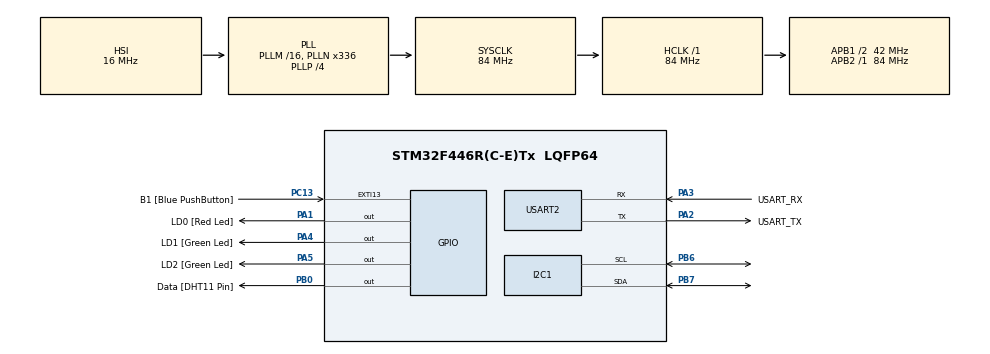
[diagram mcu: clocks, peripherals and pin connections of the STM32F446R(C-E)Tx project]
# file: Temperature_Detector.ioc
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FREERTOS.Tasks01=defaultTask,24,128,StartDefaultTask,Default,NULL,Dynamic,NULL,NULL
FREERTOS.configUSE_NEWLIB_REENTRANT=1
Mcu.Family=STM32F4
Mcu.Name=STM32F446R(C-E)Tx
Mcu.Package=LQFP64
NVIC.PriorityGroup=NVIC_PRIORITYGROUP_4
NVIC.TIM6_DAC_IRQn=true\:15\:0\:false\:false\:true\:false\:false\:true\:true
NVIC.TimeBase=TIM6_DAC_IRQn
NVIC.TimeBaseIP=TIM6
PA1.GPIO_Label=LD0 [Red Led]
PA1.Signal=GPIO_Output
PA13.GPIO_Label=TMS
PA13.Mode=Serial_Wire
PA13.Signal=SYS_JTMS-SWDIO
PA14.GPIO_Label=TCK
PA14.Mode=Serial_Wire
PA14.Signal=SYS_JTCK-SWCLK
PA2.GPIO_Label=USART_TX
PA2.Mode=Asynchronous
PA2.Signal=USART2_TX
PA3.GPIO_Label=USART_RX
PA3.Mode=Asynchronous
PA3.Signal=USART2_RX
PA4.GPIO_Label=LD1 [Green Led]
PA4.Signal=GPIO_Output
PA5.GPIO_Label=LD2 [Green Led]
PA5.Signal=GPIO_Output
PB0.GPIO_Label=Data [DHT11 Pin]
PB0.Signal=GPIO_Output
PB3.GPIO_Label=SWO
PB3.Signal=SYS_JTDO-SWO
PB6.Mode=I2C
PB6.Signal=I2C1_SCL
PB7.Mode=I2C
PB7.Signal=I2C1_SDA
PC13.GPIO_Label=B1 [Blue PushButton]
PC13.GPIO_ModeDefaultEXTI=GPIO_MODE_IT_FALLING
PC13.Signal=GPXTI13
PC14-OSC32_IN.Mode=LSE-External-Oscillator
PC14-OSC32_IN.Signal=RCC_OSC32_IN
PC15-OSC32_OUT.Mode=LSE-External-Oscillator
PC15-OSC32_OUT.Signal=RCC_OSC32_OUT
PH0-OSC_IN.Mode=HSE-External-Oscillator
PH0-OSC_IN.Signal=RCC_OSC_IN
PH1-OSC_OUT.Mode=HSE-External-Oscillator
PH1-OSC_OUT.Signal=RCC_OSC_OUT
ProjectManager.HeapSize=0x200
ProjectManager.StackSize=0x400
ProjectManager.TargetToolchain=STM32CubeIDE
RCC.48MHZClocksFreq_Value=84000000
RCC.AHBFreq_Value=84000000
RCC.APB1CLKDivider=RCC_HCLK_DIV2
RCC.APB1Freq_Value=42000000
RCC.APB1TimFreq_Value=84000000
RCC.APB2Freq_Value=84000000
RCC.APB2TimFreq_Value=84000000
RCC.CortexFreq_Value=84000000
RCC.FLatency-AdvancedSettings=FLASH_LATENCY_2
RCC.HCLKFreq_Value=84000000
RCC.HSE_VALUE=8000000
RCC.HSI_VALUE=16000000
RCC.PLLN=336
RCC.PLLP=RCC_PLLP_DIV4
RCC.SYSCLKFreq_VALUE=84000000
RCC.SYSCLKSource=RCC_SYSCLKSOURCE_PLLCLK
RCC.USBFreq_Value=168000000
RCC.VCOOutputFreq_Value=336000000
USART2.VirtualMode=VM_ASYNC
VP_FREERTOS_VS_CMSIS_V2.Mode=CMSIS_V2
VP_SYS_VS_tim6.Mode=TIM6
board=NUCLEO-F446RE

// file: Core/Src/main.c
/* USER CODE BEGIN Header */
/**
  ******************************************************************************
  * @file           : main.c
  * @brief          : Main program body
  ******************************************************************************
  * @attention
  *
  * Copyright (c) 2024 STMicroelectronics.
  * All rights reserved.
  *
  * This software is licensed under terms that can be found in the LICENSE file
  * in the root directory of this software component.
  * If no LICENSE file comes with this software, it is provided AS-IS.
  *
  ******************************************************************************
  */
/* USER CODE END Header */
#include "main.h"
//#include "cmsis_os.h"

/* USER CODE BEGIN Includes */
#include "FreeRTOS.h"
#include "task.h"
#include "queue.h"

#include "string.h"
#include "stdlib.h"
#include "stdio.h"

#include "lcdlib.h"
/* USER CODE END Includes */

/* USER CODE BEGIN PTD */
typedef struct {
	uint8_t temperature;
	uint8_t humidity;
}DHT11_Data;
/* USER CODE END PTD */

/* USER CODE BEGIN PD */
#define STACK_SIZE 128
/* USER CODE END PD */

I2C_HandleTypeDef hi2c1;

UART_HandleTypeDef huart2;

/* Definitions for defaultTask */

void SystemClock_Config(void);
static void MX_GPIO_Init(void);
static void MX_USART2_UART_Init(void);
static void MX_I2C1_Init(void);
void StartDefaultTask(void *argument);
void DWT_Init(void);
void scannerI2C(void);

/* USER CODE BEGIN 0 */
void usDelay(uint32_t us);

TaskHandle_t DHT11TaskHandler;
void DHT11_Task(void* arguments);

TaskHandle_t DataProcessTaskHandler;
void DataProcess_Task(void* arguments);

TaskHandle_t DisplayTaskHandler;
void Display_Task(void* arguments);

static QueueHandle_t dataQueue = NULL;
/* USER CODE END 0 */

int main(void)
{

  /* MCU Configuration--------------------------------------------------------*/

  /* Reset of all peripherals, Initializes the Flash interface and the Systick. */
  HAL_Init();

  /* Configure the system clock */
  SystemClock_Config();
  DWT_Init();

  /* Initialize all configured peripherals */
  MX_GPIO_Init();
  MX_USART2_UART_Init();
  MX_I2C1_Init();
  /* USER CODE BEGIN 2 */
  scannerI2C();
  dataQueue = xQueueCreate(5,sizeof(DHT11_Data));
  assert_param(dataQueue != NULL);

  xTaskCreate(DHT11_Task,"DHT11_Task",STACK_SIZE,NULL,1,&DHT11TaskHandler);
  xTaskCreate(DataProcess_Task,"DataProcess_Task",STACK_SIZE,NULL,1,&DataProcessTaskHandler);
  xTaskCreate(Display_Task,"Display_Task",STACK_SIZE,NULL,1,&DisplayTaskHandler);

  vTaskStartScheduler();
  /* USER CODE END 2 */

  /* We should never get here as control is now taken by the scheduler */

  /* Infinite loop */
  while (1)
  {

  }
}

void SystemClock_Config(void)
{
  RCC_OscInitTypeDef RCC_OscInitStruct = {0};
  RCC_ClkInitTypeDef RCC_ClkInitStruct = {0};

  /** Configure the main internal regulator output voltage
  */
  __HAL_RCC_PWR_CLK_ENABLE();
  __HAL_PWR_VOLTAGESCALING_CONFIG(PWR_REGULATOR_VOLTAGE_SCALE3);

  /** Initializes the RCC Oscillators according to the specified parameters
  * in the RCC_OscInitTypeDef structure.
  */
  RCC_OscInitStruct.OscillatorType = RCC_OSCILLATORTYPE_HSI;
  RCC_OscInitStruct.HSIState = RCC_HSI_ON;
  RCC_OscInitStruct.HSICalibrationValue = RCC_HSICALIBRATION_DEFAULT;
  RCC_OscInitStruct.PLL.PLLState = RCC_PLL_ON;
  RCC_OscInitStruct.PLL.PLLSource = RCC_PLLSOURCE_HSI;
  RCC_OscInitStruct.PLL.PLLM = 16;
  RCC_OscInitStruct.PLL.PLLN = 336;
  RCC_OscInitStruct.PLL.PLLP = RCC_PLLP_DIV4;
  RCC_OscInitStruct.PLL.PLLQ = 2;
  RCC_OscInitStruct.PLL.PLLR = 2;
  if (HAL_RCC_OscConfig(&RCC_OscInitStruct) != HAL_OK)
  {
    Error_Handler();
  }

  /** Initializes the CPU, AHB and APB buses clocks
  */
  RCC_ClkInitStruct.ClockType = RCC_CLOCKTYPE_HCLK|RCC_CLOCKTYPE_SYSCLK
                              |RCC_CLOCKTYPE_PCLK1|RCC_CLOCKTYPE_PCLK2;
  RCC_ClkInitStruct.SYSCLKSource = RCC_SYSCLKSOURCE_PLLCLK;
  RCC_ClkInitStruct.AHBCLKDivider = RCC_SYSCLK_DIV1;
  RCC_ClkInitStruct.APB1CLKDivider = RCC_HCLK_DIV2;
  RCC_ClkInitStruct.APB2CLKDivider = RCC_HCLK_DIV1;

  if (HAL_RCC_ClockConfig(&RCC_ClkInitStruct, FLASH_LATENCY_2) != HAL_OK)
  {
    Error_Handler();
  }
}

static void MX_I2C1_Init(void)
{

  hi2c1.Instance = I2C1;
  hi2c1.Init.ClockSpeed = 100000;
  hi2c1.Init.DutyCycle = I2C_DUTYCYCLE_2;
  hi2c1.Init.OwnAddress1 = 0;
  hi2c1.Init.AddressingMode = I2C_ADDRESSINGMODE_7BIT;
  hi2c1.Init.DualAddressMode = I2C_DUALADDRESS_DISABLE;
  hi2c1.Init.OwnAddress2 = 0;
  hi2c1.Init.GeneralCallMode = I2C_GENERALCALL_DISABLE;
  hi2c1.Init.NoStretchMode = I2C_NOSTRETCH_DISABLE;
  if (HAL_I2C_Init(&hi2c1) != HAL_OK)
  {
    Error_Handler();
  }

}

static void MX_USART2_UART_Init(void)
{

  huart2.Instance = USART2;
  huart2.Init.BaudRate = 115200;
  huart2.Init.WordLength = UART_WORDLENGTH_8B;
  huart2.Init.StopBits = UART_STOPBITS_1;
  huart2.Init.Parity = UART_PARITY_NONE;
  huart2.Init.Mode = UART_MODE_TX_RX;
  huart2.Init.HwFlowCtl = UART_HWCONTROL_NONE;
  huart2.Init.OverSampling = UART_OVERSAMPLING_16;
  if (HAL_UART_Init(&huart2) != HAL_OK)
  {
    Error_Handler();
  }

}

static void MX_GPIO_Init(void)
{
  GPIO_InitTypeDef GPIO_InitStruct = {0};

  /* GPIO Ports Clock Enable */
  __HAL_RCC_GPIOC_CLK_ENABLE();
  __HAL_RCC_GPIOH_CLK_ENABLE();
  __HAL_RCC_GPIOA_CLK_ENABLE();
  __HAL_RCC_GPIOB_CLK_ENABLE();

  /*Configure GPIO pin Output Level */
  HAL_GPIO_WritePin(GPIOA, LD0_Pin|LD1_Pin|LD2_Pin, GPIO_PIN_RESET);

  /*Configure GPIO pin Output Level */
  HAL_GPIO_WritePin(Data_GPIO_Port, Data_Pin, GPIO_PIN_RESET);

  /*Configure GPIO pin : B1_Pin */
  GPIO_InitStruct.Pin = B1_Pin;
  GPIO_InitStruct.Mode = GPIO_MODE_IT_FALLING;
  GPIO_InitStruct.Pull = GPIO_NOPULL;
  HAL_GPIO_Init(B1_GPIO_Port, &GPIO_InitStruct);

  /*Configure GPIO pins : LD0_Pin LD1_Pin LD2_Pin */
  GPIO_InitStruct.Pin = LD0_Pin|LD1_Pin|LD2_Pin;
  GPIO_InitStruct.Mode = GPIO_MODE_OUTPUT_PP;
  GPIO_InitStruct.Pull = GPIO_NOPULL;
  GPIO_InitStruct.Speed = GPIO_SPEED_FREQ_LOW;
  HAL_GPIO_Init(GPIOA, &GPIO_InitStruct);

  /*Configure GPIO pin : Data_Pin */
  GPIO_InitStruct.Pin = Data_Pin;
  GPIO_InitStruct.Mode = GPIO_MODE_OUTPUT_PP;
  GPIO_InitStruct.Pull = GPIO_NOPULL;
  GPIO_InitStruct.Speed = GPIO_SPEED_FREQ_LOW;
  HAL_GPIO_Init(Data_GPIO_Port, &GPIO_InitStruct);

}

/* USER CODE BEGIN 4 */
void DWT_Init(void)
{
	if(!(CoreDebug->DEMCR & CoreDebug_DEMCR_TRCENA_Msk))
	{
		CoreDebug->DEMCR |= CoreDebug_DEMCR_TRCENA_Msk;
	}

	DWT->CYCCNT = 0;

	DWT->CTRL |= DWT_CTRL_CYCCNTENA_Msk;
}

void usDelay(uint32_t us)
{
	uint32_t startTick = DWT->CYCCNT;
	uint32_t delayTicks = us * (SystemCoreClock / 1000000);
	while((DWT->CYCCNT - startTick) < delayTicks);
}

void DataPin_Output(GPIO_TypeDef *GPIOx, uint16_t GPIO_PIN)
{
	GPIO_InitTypeDef GPIO_InitStruct = {0};
	GPIO_InitStruct.Pin = Data_Pin;
	GPIO_InitStruct.Mode = GPIO_MODE_OUTPUT_PP;
	GPIO_InitStruct.Pull = GPIO_NOPULL;
	GPIO_InitStruct.Speed = GPIO_SPEED_FREQ_LOW;
	HAL_GPIO_Init(Data_GPIO_Port, &GPIO_InitStruct);
}

void DataPin_Input(GPIO_TypeDef *GPIOx, uint16_t GPIO_PIN)
{
	GPIO_InitTypeDef GPIO_InitStruct = {0};
	GPIO_InitStruct.Pin = Data_Pin;
	GPIO_InitStruct.Mode = GPIO_MODE_INPUT;
	GPIO_InitStruct.Pull = GPIO_PULLUP;
	HAL_GPIO_Init(Data_GPIO_Port, &GPIO_InitStruct);
}

uint8_t DHT11_Read(uint8_t *temperature, uint8_t *humidity)
{
	uint8_t dhtData[5] = {0};

	DataPin_Output(GPIOB,GPIO_PIN_0);
	HAL_GPIO_WritePin(GPIOB, GPIO_PIN_0, GPIO_PIN_RESET);
	vTaskDelay(18 / portTICK_PERIOD_MS);

	HAL_GPIO_WritePin(GPIOB, GPIO_PIN_0, GPIO_PIN_SET);
	usDelay(20);

	DataPin_Input(GPIOB,GPIO_PIN_0);

	while(!HAL_GPIO_ReadPin(GPIOB,GPIO_PIN_0));
	while(HAL_GPIO_ReadPin(GPIOB,GPIO_PIN_0));

	for(int i = 0; i < 40; i++)
	{
		while(!HAL_GPIO_ReadPin(GPIOB,GPIO_PIN_0));
		usDelay(50);

		if(HAL_GPIO_ReadPin(GPIOB,GPIO_PIN_0))
		{
			dhtData[i/8] |= (1 << (7 - (i % 8)));
		}

		while(HAL_GPIO_ReadPin(GPIOB,GPIO_PIN_0));
	}

	if((dhtData[0] + dhtData[1] + dhtData[2] + dhtData[3] != dhtData[4]))
	{
		return 1;
	}

	*temperature = dhtData[2];
	*humidity = dhtData[0];

	return 0;

}

void DHT11_Task(void* arguments)
{
	DHT11_Data sendData;
	uint8_t flag = 1;
	uint8_t temperature, humidity;

    while(1)
	{
    	if(DHT11_Read(&temperature, &humidity) == 0)
    	{
    		sendData.temperature = temperature;
    		sendData.humidity = humidity;

    		xQueueSend(dataQueue, &sendData, pdMS_TO_TICKS(100));

    	} else {
    		HAL_GPIO_WritePin(GPIOA, GPIO_PIN_1, GPIO_PIN_SET);
    	}

    	vTaskDelay(100 / portTICK_PERIOD_MS);
	}
}

void DataProcess_Task(void* arguments)
{
	DHT11_Data receivedData;

	while(1)
	{
		if(xQueueReceive(dataQueue, &receivedData, portMAX_DELAY) == pdPASS)
		{
			if(receivedData.temperature > 20)
			{
				HAL_GPIO_WritePin(GPIOA, GPIO_PIN_4, GPIO_PIN_SET);
			} else {
				HAL_GPIO_WritePin(GPIOA, GPIO_PIN_4, GPIO_PIN_RESET);
			}
			vTaskDelay(100 / portTICK_PERIOD_MS);
		}
	}
}

void Display_Task(void* arguments)
{
	LCD_Initialize();

	char buffer[20];
	DHT11_Data receivedData;

	while(1)
	{
		if(xQueueReceive(dataQueue, &receivedData, portMAX_DELAY) == pdPASS)
		{
			LCD_Command_Send(0x01);
			vTaskDelay(20 / portTICK_PERIOD_MS);

			LCD_Cursor_Set(0,0);
			snprintf(buffer, sizeof(buffer), "Temp: %dC", receivedData.temperature);
			LCD_String_Send(buffer);

			LCD_Cursor_Set(1,0);
			snprintf(buffer, sizeof(buffer), "Humidity: %d%%", receivedData.humidity);
			LCD_String_Send(buffer);

			vTaskDelay(200 / portTICK_PERIOD_MS);
		}
	}
}
/* USER CODE END 4 */

void HAL_TIM_PeriodElapsedCallback(TIM_HandleTypeDef *htim)
{
  if (htim->Instance == TIM6) {
    HAL_IncTick();
  }
}

void Error_Handler(void)
{
  __disable_irq();
  while (1)
  {
  }
}
